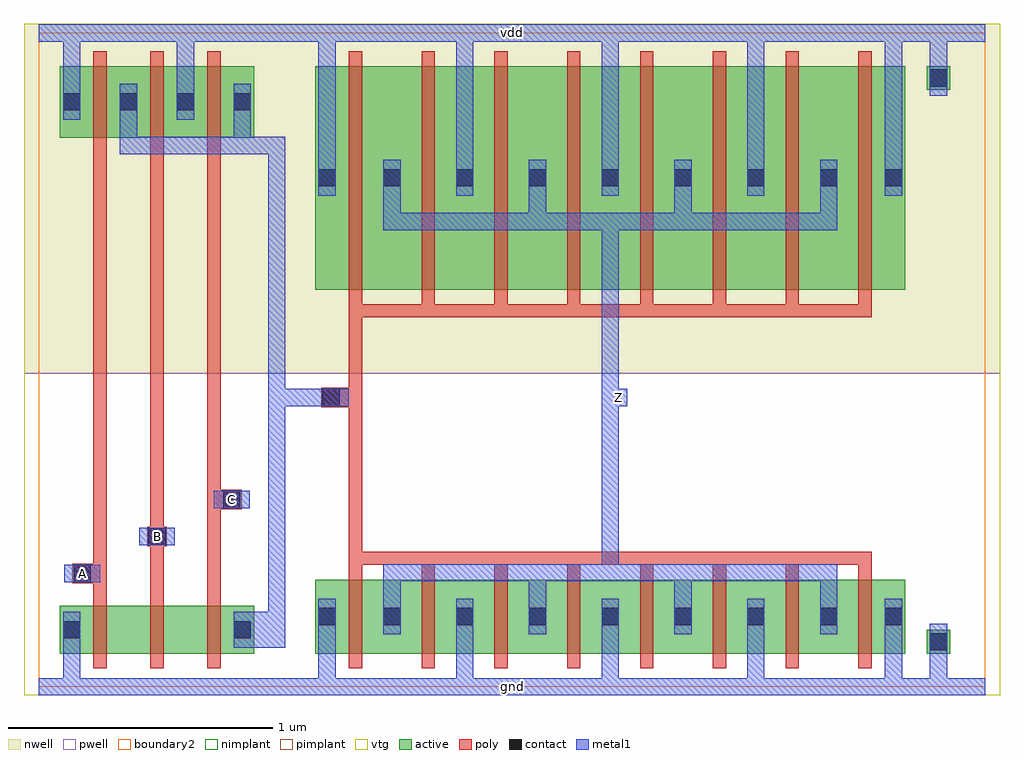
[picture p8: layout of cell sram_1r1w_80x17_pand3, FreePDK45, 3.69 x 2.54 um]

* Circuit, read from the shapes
.subckt sram_1r1w_80x17_pand3 A B C Z gnd vdd
M1 sram_1r1w_80x17_pnand3_0_0/sram_1r1w_80x17_nmos_m1_w0_180_sm1_dactive_3/D A gnd gnd nfet w=0.18u l=0.05u
M2 sram_1r1w_80x17_pnand3_0_0/sram_1r1w_80x17_nmos_m1_w0_180_sactive_dactive_4/D B sram_1r1w_80x17_pnand3_0_0/sram_1r1w_80x17_nmos_m1_w0_180_sm1_dactive_3/D gnd nfet w=0.18u l=0.05u
M3 sram_1r1w_80x17_pdriver_2_1/A C sram_1r1w_80x17_pnand3_0_0/sram_1r1w_80x17_nmos_m1_w0_180_sactive_dactive_4/D gnd nfet w=0.18u l=0.05u
M4 Z sram_1r1w_80x17_pdriver_2_1/A gnd gnd nfet w=0.28u l=0.05u m=8
M5 sram_1r1w_80x17_pdriver_2_1/A A vdd vdd pfet w=0.27u l=0.05u
M6 vdd B sram_1r1w_80x17_pdriver_2_1/A vdd pfet w=0.27u l=0.05u
M7 sram_1r1w_80x17_pdriver_2_1/A C vdd vdd pfet w=0.27u l=0.05u
M8 Z sram_1r1w_80x17_pdriver_2_1/A vdd vdd pfet w=0.845u l=0.05u m=8
.ends

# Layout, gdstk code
import gdstk
lib = gdstk.Library(unit=1e-6, precision=5e-10)
def R(c, l, rs):  # rectangles x0, y0, x1, y1
    for r in rs: c.add(gdstk.rectangle(r[:2], r[2:], *l))
def A(c, l, x, y, w, h, nx, ny, dx, dy):  # array of equal rectangles
    R(c, l, [(x+i*dx, y+j*dy, x+i*dx+w, y+j*dy+h) for i in range(nx) for j in range(ny)])
active = (1, 0)
pwell = (2, 0)
nwell = (3, 0)
nimplant = (4, 0)
pimplant = (5, 0)
vtg = (6, 0)
poly = (9, 0)
contact = (10, 0)
metal1 = (11, 0)
boundary2 = (239, 0)

sram_1r1w_80x17_contact_ = lib.new_cell('sram_1r1w_80x17_contact_11')
R(sram_1r1w_80x17_contact_, active, [(0,0.0225,0.09,0.1125)])
R(sram_1r1w_80x17_contact_, nwell, [(-0.055,-0.0325,0.145,0.1675)])
R(sram_1r1w_80x17_contact_, pimplant, [(0,0.0225,0.09,0.1125)])
R(sram_1r1w_80x17_contact_, contact, [(0.0125,0.035,0.0775,0.1)])
R(sram_1r1w_80x17_contact_, metal1, [(0.0125,0,0.0775,0.135)])
R(sram_1r1w_80x17_contact_, boundary2, [(-0.055,-0.0325,0.145,0.1675)])

sram_1r1w_80x17_pmos_m1_ = lib.new_cell('sram_1r1w_80x17_pmos_m1_w0_270_sm1_dm1')
R(sram_1r1w_80x17_pmos_m1_, active, [(0,0,0.305,0.27)])
R(sram_1r1w_80x17_pmos_m1_, nwell, [(-0.08,-0.08,0.385,0.35)])
R(sram_1r1w_80x17_pmos_m1_, pimplant, [(0,0,0.305,0.27)])
R(sram_1r1w_80x17_pmos_m1_, vtg, [(-0.08,-0.08,0.385,0.35)])
R(sram_1r1w_80x17_pmos_m1_, poly, [(0.1275,-0.055,0.1775,0.325), (0.1275,-0.055,0.1775,0.325)])
R(sram_1r1w_80x17_pmos_m1_, metal1, [(0.0125,0.0675,0.0775,0.2025), (0.2275,0.0675,0.2925,0.2025)])
R(sram_1r1w_80x17_pmos_m1_, boundary2, [(-0.08,-0.08,0.385,0.35)])
sram_1r1w_80x17_pmos_m1_.add(gdstk.Reference(sram_1r1w_80x17_contact_, (0,0.0675)))
sram_1r1w_80x17_pmos_m1_.add(gdstk.Reference(sram_1r1w_80x17_contact_, (0.215,0.0675)))
sram_1r1w_80x17_pmos_m1_.add(gdstk.Label('G', (0.1525,0.135), layer=9, texttype=0))
sram_1r1w_80x17_pmos_m1_.add(gdstk.Label('S', (0.045,0.135), layer=11, texttype=0))
sram_1r1w_80x17_pmos_m1_.add(gdstk.Label('D', (0.26,0.135), layer=11, texttype=0))

c_sram_1r1w_80x17_contact_ = lib.new_cell('sram_1r1w_80x17_contact_10')
R(c_sram_1r1w_80x17_contact_, active, [(0,0.0225,0.09,0.1125)])
R(c_sram_1r1w_80x17_contact_, pwell, [(-0.055,-0.0325,0.145,0.1675)])
R(c_sram_1r1w_80x17_contact_, nimplant, [(0,0.0225,0.09,0.1125)])
R(c_sram_1r1w_80x17_contact_, contact, [(0.0125,0.035,0.0775,0.1)])
R(c_sram_1r1w_80x17_contact_, metal1, [(0.0125,0,0.0775,0.135)])
R(c_sram_1r1w_80x17_contact_, boundary2, [(-0.055,-0.0325,0.145,0.1675)])

sram_1r1w_80x17_nmos_m1_ = lib.new_cell('sram_1r1w_80x17_nmos_m1_w0_180_sm1_dactive')
R(sram_1r1w_80x17_nmos_m1_, active, [(0,0,0.305,0.18), (0.215,0.045,0.305,0.135)])
R(sram_1r1w_80x17_nmos_m1_, pwell, [(-0.08,-0.08,0.385,0.26)])
R(sram_1r1w_80x17_nmos_m1_, nimplant, [(0,0,0.305,0.18)])
R(sram_1r1w_80x17_nmos_m1_, vtg, [(-0.08,-0.08,0.385,0.26)])
R(sram_1r1w_80x17_nmos_m1_, poly, [(0.1275,-0.055,0.1775,0.235), (0.1275,-0.055,0.1775,0.235)])
R(sram_1r1w_80x17_nmos_m1_, metal1, [(0.0125,0.0225,0.0775,0.1575)])
R(sram_1r1w_80x17_nmos_m1_, boundary2, [(-0.08,-0.08,0.385,0.26)])
sram_1r1w_80x17_nmos_m1_.add(gdstk.Reference(c_sram_1r1w_80x17_contact_, (0,0.0225)))
sram_1r1w_80x17_nmos_m1_.add(gdstk.Label('G', (0.1525,0.09), layer=9, texttype=0))
sram_1r1w_80x17_nmos_m1_.add(gdstk.Label('S', (0.045,0.09), layer=11, texttype=0))
sram_1r1w_80x17_nmos_m1_.add(gdstk.Label('D', (0.26,0.09), layer=1, texttype=0))

c_sram_1r1w_80x17_nmos_m1_ = lib.new_cell('sram_1r1w_80x17_nmos_m1_w0_180_sactive_dactive')
R(c_sram_1r1w_80x17_nmos_m1_, active, [(0,0,0.305,0.18), (0,0.045,0.09,0.135), (0.215,0.045,0.305,0.135)])
R(c_sram_1r1w_80x17_nmos_m1_, pwell, [(-0.08,-0.08,0.385,0.26)])
R(c_sram_1r1w_80x17_nmos_m1_, nimplant, [(0,0,0.305,0.18)])
R(c_sram_1r1w_80x17_nmos_m1_, vtg, [(-0.08,-0.08,0.385,0.26)])
R(c_sram_1r1w_80x17_nmos_m1_, poly, [(0.1275,-0.055,0.1775,0.235), (0.1275,-0.055,0.1775,0.235)])
R(c_sram_1r1w_80x17_nmos_m1_, boundary2, [(-0.08,-0.08,0.385,0.26)])
c_sram_1r1w_80x17_nmos_m1_.add(gdstk.Label('G', (0.1525,0.09), layer=9, texttype=0))
c_sram_1r1w_80x17_nmos_m1_.add(gdstk.Label('S', (0.045,0.09), layer=1, texttype=0))
c_sram_1r1w_80x17_nmos_m1_.add(gdstk.Label('D', (0.26,0.09), layer=1, texttype=0))

c_sram_1r1w_80x17_nmos_m1__ = lib.new_cell('sram_1r1w_80x17_nmos_m1_w0_180_sactive_dm1')
R(c_sram_1r1w_80x17_nmos_m1__, active, [(0,0,0.305,0.18), (0,0.045,0.09,0.135)])
R(c_sram_1r1w_80x17_nmos_m1__, pwell, [(-0.08,-0.08,0.385,0.26)])
R(c_sram_1r1w_80x17_nmos_m1__, nimplant, [(0,0,0.305,0.18)])
R(c_sram_1r1w_80x17_nmos_m1__, vtg, [(-0.08,-0.08,0.385,0.26)])
R(c_sram_1r1w_80x17_nmos_m1__, poly, [(0.1275,-0.055,0.1775,0.235), (0.1275,-0.055,0.1775,0.235)])
R(c_sram_1r1w_80x17_nmos_m1__, metal1, [(0.2275,0.0225,0.2925,0.1575)])
R(c_sram_1r1w_80x17_nmos_m1__, boundary2, [(-0.08,-0.08,0.385,0.26)])
c_sram_1r1w_80x17_nmos_m1__.add(gdstk.Reference(c_sram_1r1w_80x17_contact_, (0.215,0.0225)))
c_sram_1r1w_80x17_nmos_m1__.add(gdstk.Label('G', (0.1525,0.09), layer=9, texttype=0))
c_sram_1r1w_80x17_nmos_m1__.add(gdstk.Label('S', (0.045,0.09), layer=1, texttype=0))
c_sram_1r1w_80x17_nmos_m1__.add(gdstk.Label('D', (0.26,0.09), layer=11, texttype=0))

c_sram_1r1w_80x17_contact__ = lib.new_cell('sram_1r1w_80x17_contact_14')
R(c_sram_1r1w_80x17_contact__, poly, [(0.03,0,0.105,0.075)])
R(c_sram_1r1w_80x17_contact__, contact, [(0.035,0.005,0.1,0.07)])
R(c_sram_1r1w_80x17_contact__, metal1, [(0,0.005,0.135,0.07)])
R(c_sram_1r1w_80x17_contact__, boundary2, [(0,0,0.135,0.075)])

sram_1r1w_80x17_pnand3_0 = lib.new_cell('sram_1r1w_80x17_pnand3_0')
R(sram_1r1w_80x17_pnand3_0, pwell, [(-0.055,-0.0325,1.02,1.185)])
R(sram_1r1w_80x17_pnand3_0, nwell, [(-0.055,1.185,1.02,2.505)])
R(sram_1r1w_80x17_pnand3_0, vtg, [(-0.055,-0.0325,1.02,1.185), (-0.055,1.185,1.02,2.505)])
A(sram_1r1w_80x17_pnand3_0, poly, 0.2075, 0.36, 0.05, 1.66, 3, 1, 0.215, 0)
R(sram_1r1w_80x17_pnand3_0, poly, [(0.165,0.39,0.2075,0.465), (0.4225,0.53,0.4475,0.605), (0.6375,0.67,0.73,0.745)])
R(sram_1r1w_80x17_pnand3_0, metal1, [(0,-0.0325,0.965,0.0325), (0.0925,-0.0325,0.1575,0.1475), (0.77,0.1475,0.9,0.2825), (0.8675,0.1475,0.9325,2.045), (0.0975,0.395,0.2325,0.46), (0.38,0.535,0.515,0.6), (0.6625,0.675,0.7975,0.74), (0.3075,2.0125,0.3725,2.0775), (0.34,2.0125,0.9,2.0775), (0.7375,2.0125,0.8025,2.0775), (0.77,2.0125,0.9,2.0775), (0.8675,2.0125,0.9325,2.0775), (0.3075,2.045,0.3725,2.21), (0.7375,2.045,0.8025,2.21), (0.0925,2.1425,0.1575,2.5025), (0.5225,2.1425,0.5875,2.5025), (0,2.4375,0.965,2.5025)])
R(sram_1r1w_80x17_pnand3_0, boundary2, [(0,0,0.965,2.47), (0,0,0.965,2.47)])
sram_1r1w_80x17_pnand3_0.add(gdstk.Reference(sram_1r1w_80x17_pmos_m1_, (0.08,2.075)))
sram_1r1w_80x17_pnand3_0.add(gdstk.Reference(sram_1r1w_80x17_pmos_m1_, (0.295,2.075)))
sram_1r1w_80x17_pnand3_0.add(gdstk.Reference(sram_1r1w_80x17_pmos_m1_, (0.51,2.075)))
sram_1r1w_80x17_pnand3_0.add(gdstk.Reference(sram_1r1w_80x17_nmos_m1_, (0.08,0.125)))
sram_1r1w_80x17_pnand3_0.add(gdstk.Reference(c_sram_1r1w_80x17_nmos_m1_, (0.295,0.125)))
sram_1r1w_80x17_pnand3_0.add(gdstk.Reference(c_sram_1r1w_80x17_nmos_m1__, (0.51,0.125)))
sram_1r1w_80x17_pnand3_0.add(gdstk.Reference(c_sram_1r1w_80x17_contact__, (0.0975,0.39)))
sram_1r1w_80x17_pnand3_0.add(gdstk.Reference(c_sram_1r1w_80x17_contact__, (0.38,0.53)))
sram_1r1w_80x17_pnand3_0.add(gdstk.Reference(c_sram_1r1w_80x17_contact__, (0.6625,0.67)))
sram_1r1w_80x17_pnand3_0.add(gdstk.Label('A', (0.165,0.4275), layer=11, texttype=0))
sram_1r1w_80x17_pnand3_0.add(gdstk.Label('B', (0.4475,0.5675), layer=11, texttype=0))
sram_1r1w_80x17_pnand3_0.add(gdstk.Label('C', (0.73,0.7075), layer=11, texttype=0))
sram_1r1w_80x17_pnand3_0.add(gdstk.Label('Z', (0.9,2.045), layer=11, texttype=0))
sram_1r1w_80x17_pnand3_0.add(gdstk.Label('gnd', (0.4825,0), layer=11, texttype=0))
sram_1r1w_80x17_pnand3_0.add(gdstk.Label('vdd', (0.4825,2.47), layer=11, texttype=0))

sram_1r1w_80x17_pmos_m8_ = lib.new_cell('sram_1r1w_80x17_pmos_m8_w0_845_sm1_dm1_da_p')
R(sram_1r1w_80x17_pmos_m8_, active, [(0,0,2.23,0.845)])
R(sram_1r1w_80x17_pmos_m8_, nwell, [(-0.08,-0.08,2.31,0.925)])
R(sram_1r1w_80x17_pmos_m8_, pimplant, [(0,0,2.23,0.845)])
R(sram_1r1w_80x17_pmos_m8_, vtg, [(-0.08,-0.08,2.31,0.925)])
A(sram_1r1w_80x17_pmos_m8_, poly, 0.1275, -0.055, 0.05, 0.955, 8, 1, 0.275, 0)
R(sram_1r1w_80x17_pmos_m8_, poly, [(0.1275,-0.105,2.1025,-0.055)])
A(sram_1r1w_80x17_pmos_m8_, metal1, 0.2575, 0.2575, 0.065, 0.165, 4, 1, 0.55, 0)
A(sram_1r1w_80x17_pmos_m8_, metal1, 0.5325, 0.355, 0.065, 0.135, 3, 1, 0.55, 0)
R(sram_1r1w_80x17_pmos_m8_, metal1, [(0.2575,0.225,1.9725,0.29), (0.0125,0.355,0.0775,0.49), (2.1525,0.355,2.2175,0.49)])
R(sram_1r1w_80x17_pmos_m8_, boundary2, [(-0.08,-0.105,2.31,0.925)])
sram_1r1w_80x17_pmos_m8_.add(gdstk.Reference(sram_1r1w_80x17_contact_, (0,0.355)))
sram_1r1w_80x17_pmos_m8_.add(gdstk.Reference(sram_1r1w_80x17_contact_, (0.245,0.355)))
sram_1r1w_80x17_pmos_m8_.add(gdstk.Reference(sram_1r1w_80x17_contact_, (0.52,0.355)))
sram_1r1w_80x17_pmos_m8_.add(gdstk.Reference(sram_1r1w_80x17_contact_, (0.795,0.355)))
sram_1r1w_80x17_pmos_m8_.add(gdstk.Reference(sram_1r1w_80x17_contact_, (1.07,0.355)))
sram_1r1w_80x17_pmos_m8_.add(gdstk.Reference(sram_1r1w_80x17_contact_, (1.345,0.355)))
sram_1r1w_80x17_pmos_m8_.add(gdstk.Reference(sram_1r1w_80x17_contact_, (1.62,0.355)))
sram_1r1w_80x17_pmos_m8_.add(gdstk.Reference(sram_1r1w_80x17_contact_, (1.895,0.355)))
sram_1r1w_80x17_pmos_m8_.add(gdstk.Reference(sram_1r1w_80x17_contact_, (2.14,0.355)))
sram_1r1w_80x17_pmos_m8_.add(gdstk.Label('G', (1.115,-0.08), layer=9, texttype=0))
sram_1r1w_80x17_pmos_m8_.add(gdstk.Label('S', (1.665,0.4225), layer=11, texttype=0))
sram_1r1w_80x17_pmos_m8_.add(gdstk.Label('S', (0.565,0.4225), layer=11, texttype=0))
sram_1r1w_80x17_pmos_m8_.add(gdstk.Label('S', (0.045,0.4225), layer=11, texttype=0))
sram_1r1w_80x17_pmos_m8_.add(gdstk.Label('S', (1.115,0.4225), layer=11, texttype=0))
sram_1r1w_80x17_pmos_m8_.add(gdstk.Label('S', (2.185,0.4225), layer=11, texttype=0))
sram_1r1w_80x17_pmos_m8_.add(gdstk.Label('D', (1.115,0.2575), layer=11, texttype=0))

sram_1r1w_80x17_nmos_m8_ = lib.new_cell('sram_1r1w_80x17_nmos_m8_w0_280_sm1_dm1_da_p')
R(sram_1r1w_80x17_nmos_m8_, active, [(0,0,2.23,0.28)])
R(sram_1r1w_80x17_nmos_m8_, pwell, [(-0.08,-0.08,2.31,0.36)])
R(sram_1r1w_80x17_nmos_m8_, nimplant, [(0,0,2.23,0.28)])
R(sram_1r1w_80x17_nmos_m8_, vtg, [(-0.08,-0.08,2.31,0.36)])
A(sram_1r1w_80x17_nmos_m8_, poly, 0.1275, -0.055, 0.05, 0.39, 8, 1, 0.275, 0)
R(sram_1r1w_80x17_nmos_m8_, poly, [(0.1275,0.335,2.1025,0.385)])
A(sram_1r1w_80x17_nmos_m8_, metal1, 0.5325, 0.0725, 0.065, 0.135, 3, 1, 0.55, 0)
A(sram_1r1w_80x17_nmos_m8_, metal1, 0.2575, 0.14, 0.065, 0.165, 4, 1, 0.55, 0)
R(sram_1r1w_80x17_nmos_m8_, metal1, [(0.0125,0.0725,0.0775,0.2075), (2.1525,0.0725,2.2175,0.2075), (0.2575,0.2725,1.9725,0.3375)])
R(sram_1r1w_80x17_nmos_m8_, boundary2, [(-0.08,-0.08,2.31,0.385)])
sram_1r1w_80x17_nmos_m8_.add(gdstk.Reference(c_sram_1r1w_80x17_contact_, (0,0.0725)))
sram_1r1w_80x17_nmos_m8_.add(gdstk.Reference(c_sram_1r1w_80x17_contact_, (0.245,0.0725)))
sram_1r1w_80x17_nmos_m8_.add(gdstk.Reference(c_sram_1r1w_80x17_contact_, (0.52,0.0725)))
sram_1r1w_80x17_nmos_m8_.add(gdstk.Reference(c_sram_1r1w_80x17_contact_, (0.795,0.0725)))
sram_1r1w_80x17_nmos_m8_.add(gdstk.Reference(c_sram_1r1w_80x17_contact_, (1.07,0.0725)))
sram_1r1w_80x17_nmos_m8_.add(gdstk.Reference(c_sram_1r1w_80x17_contact_, (1.345,0.0725)))
sram_1r1w_80x17_nmos_m8_.add(gdstk.Reference(c_sram_1r1w_80x17_contact_, (1.62,0.0725)))
sram_1r1w_80x17_nmos_m8_.add(gdstk.Reference(c_sram_1r1w_80x17_contact_, (1.895,0.0725)))
sram_1r1w_80x17_nmos_m8_.add(gdstk.Reference(c_sram_1r1w_80x17_contact_, (2.14,0.0725)))
sram_1r1w_80x17_nmos_m8_.add(gdstk.Label('G', (1.115,0.36), layer=9, texttype=0))
sram_1r1w_80x17_nmos_m8_.add(gdstk.Label('S', (0.565,0.14), layer=11, texttype=0))
sram_1r1w_80x17_nmos_m8_.add(gdstk.Label('S', (1.665,0.14), layer=11, texttype=0))
sram_1r1w_80x17_nmos_m8_.add(gdstk.Label('S', (2.185,0.14), layer=11, texttype=0))
sram_1r1w_80x17_nmos_m8_.add(gdstk.Label('S', (1.115,0.14), layer=11, texttype=0))
sram_1r1w_80x17_nmos_m8_.add(gdstk.Label('S', (0.045,0.14), layer=11, texttype=0))
sram_1r1w_80x17_nmos_m8_.add(gdstk.Label('D', (1.115,0.305), layer=11, texttype=0))

c_sram_1r1w_80x17_contact___ = lib.new_cell('sram_1r1w_80x17_contact_12')
R(c_sram_1r1w_80x17_contact___, active, [(0,0.0225,0.09,0.1125)])
R(c_sram_1r1w_80x17_contact___, nwell, [(-0.055,-0.0325,0.145,0.1675)])
R(c_sram_1r1w_80x17_contact___, nimplant, [(0,0.0225,0.09,0.1125)])
R(c_sram_1r1w_80x17_contact___, contact, [(0.0125,0.035,0.0775,0.1)])
R(c_sram_1r1w_80x17_contact___, metal1, [(0.0125,0,0.0775,0.135)])
R(c_sram_1r1w_80x17_contact___, boundary2, [(-0.055,-0.0325,0.145,0.1675)])

c_sram_1r1w_80x17_contact____ = lib.new_cell('sram_1r1w_80x17_contact_13')
R(c_sram_1r1w_80x17_contact____, active, [(0,0.0225,0.09,0.1125)])
R(c_sram_1r1w_80x17_contact____, pwell, [(-0.055,-0.0325,0.145,0.1675)])
R(c_sram_1r1w_80x17_contact____, pimplant, [(0,0.0225,0.09,0.1125)])
R(c_sram_1r1w_80x17_contact____, contact, [(0.0125,0.035,0.0775,0.1)])
R(c_sram_1r1w_80x17_contact____, metal1, [(0.0125,0,0.0775,0.135)])
R(c_sram_1r1w_80x17_contact____, boundary2, [(-0.055,-0.0325,0.145,0.1675)])

sram_1r1w_80x17_pinv_14 = lib.new_cell('sram_1r1w_80x17_pinv_14')
R(sram_1r1w_80x17_pinv_14, pwell, [(-0.055,-0.0325,2.6675,1.185)])
R(sram_1r1w_80x17_pinv_14, nwell, [(-0.055,1.185,2.6675,2.505)])
R(sram_1r1w_80x17_pinv_14, vtg, [(-0.055,-0.0325,2.6675,1.185), (-0.055,1.185,2.6675,2.505)])
R(sram_1r1w_80x17_pinv_14, poly, [(0.2075,0.51,0.2575,1.395), (0.14,1.055,0.2075,1.13)])
A(sram_1r1w_80x17_pinv_14, metal1, 0.6125, -0.0325, 0.065, 0.23, 3, 1, 0.55, 0)
A(sram_1r1w_80x17_pinv_14, metal1, 0.6125, 1.855, 0.065, 0.6475, 3, 1, 0.55, 0)
R(sram_1r1w_80x17_pinv_14, metal1, [(0,-0.0325,2.6125,0.0325), (0.0925,-0.0325,0.1575,0.1975), (2.2325,-0.0325,2.2975,0.1975), (2.4025,0,2.4675,0.17), (1.1625,0.3975,1.2275,1.79), (0.0725,1.06,0.2075,1.125), (1.195,1.06,1.26,1.125), (0.0925,1.855,0.1575,2.5025), (2.2325,1.855,2.2975,2.5025), (2.4025,2.3,2.4675,2.47), (0,2.4375,2.6125,2.5025)])
R(sram_1r1w_80x17_pinv_14, boundary2, [(0,0,2.6125,2.47), (0,0,2.6125,2.47)])
sram_1r1w_80x17_pinv_14.add(gdstk.Reference(sram_1r1w_80x17_pmos_m8_, (0.08,1.5)))
sram_1r1w_80x17_pinv_14.add(gdstk.Reference(sram_1r1w_80x17_nmos_m8_, (0.08,0.125)))
sram_1r1w_80x17_pinv_14.add(gdstk.Reference(c_sram_1r1w_80x17_contact___, (2.39,2.2325)))
sram_1r1w_80x17_pinv_14.add(gdstk.Reference(c_sram_1r1w_80x17_contact____, (2.39,0.1025)))
sram_1r1w_80x17_pinv_14.add(gdstk.Reference(c_sram_1r1w_80x17_contact__, (0.0725,1.055)))
sram_1r1w_80x17_pinv_14.add(gdstk.Label('A', (0.14,1.0925), layer=11, texttype=0))
sram_1r1w_80x17_pinv_14.add(gdstk.Label('Z', (1.2275,1.0925), layer=11, texttype=0))
sram_1r1w_80x17_pinv_14.add(gdstk.Label('gnd', (1.3065,0), layer=11, texttype=0))
sram_1r1w_80x17_pinv_14.add(gdstk.Label('vdd', (1.3065,2.47), layer=11, texttype=0))

sram_1r1w_80x17_pdriver_ = lib.new_cell('sram_1r1w_80x17_pdriver_2')
R(sram_1r1w_80x17_pdriver_, pwell, [(-0.055,-0.0325,2.6675,1.185)])
R(sram_1r1w_80x17_pdriver_, nwell, [(-0.055,1.185,2.6675,2.505)])
R(sram_1r1w_80x17_pdriver_, vtg, [(-0.055,-0.0325,2.6675,1.185), (-0.055,1.185,2.6675,2.505)])
R(sram_1r1w_80x17_pdriver_, metal1, [(0,-0.0325,2.6125,0.0325), (0.0725,1.06,0.2075,1.125), (1.195,1.06,1.26,1.125), (0,2.4375,2.6125,2.5025)])
R(sram_1r1w_80x17_pdriver_, boundary2, [(0,0,2.6125,2.47), (0,0,2.6125,2.47)])
sram_1r1w_80x17_pdriver_.add(gdstk.Reference(sram_1r1w_80x17_pinv_14, (0,0)))
sram_1r1w_80x17_pdriver_.add(gdstk.Label('Z', (1.2275,1.0925), layer=11, texttype=0))
sram_1r1w_80x17_pdriver_.add(gdstk.Label('A', (0.14,1.0925), layer=11, texttype=0))
sram_1r1w_80x17_pdriver_.add(gdstk.Label('gnd', (1.3065,0), layer=11, texttype=0))
sram_1r1w_80x17_pdriver_.add(gdstk.Label('vdd', (1.3065,2.47), layer=11, texttype=0))

sram_1r1w_80x17_pand3 = lib.new_cell('sram_1r1w_80x17_pand3')
R(sram_1r1w_80x17_pand3, metal1, [(0,-0.0325,3.5775,0.0325), (0.0975,0.395,0.2325,0.46), (0.38,0.535,0.515,0.6), (0.6625,0.675,0.7975,0.74), (0.8675,1.06,0.9325,1.125), (0.9,1.06,1.105,1.125), (2.16,1.06,2.225,1.125), (0.8675,1.0925,0.9325,2.045), (0,2.4375,3.5775,2.5025)])
R(sram_1r1w_80x17_pand3, boundary2, [(0,0,3.5775,2.47), (0,0,3.5775,2.47)])
sram_1r1w_80x17_pand3.add(gdstk.Reference(sram_1r1w_80x17_pnand3_0, (0,0)))
sram_1r1w_80x17_pand3.add(gdstk.Reference(sram_1r1w_80x17_pdriver_, (0.965,0)))
sram_1r1w_80x17_pand3.add(gdstk.Label('Z', (2.1925,1.0925), layer=11, texttype=0))
sram_1r1w_80x17_pand3.add(gdstk.Label('A', (0.165,0.4275), layer=11, texttype=0))
sram_1r1w_80x17_pand3.add(gdstk.Label('B', (0.4475,0.5675), layer=11, texttype=0))
sram_1r1w_80x17_pand3.add(gdstk.Label('C', (0.73,0.7075), layer=11, texttype=0))
sram_1r1w_80x17_pand3.add(gdstk.Label('gnd', (1.789,0), layer=11, texttype=0))
sram_1r1w_80x17_pand3.add(gdstk.Label('vdd', (1.789,2.47), layer=11, texttype=0))

lib.write_gds('sram_1r1w_80x17_pand3.gds')
